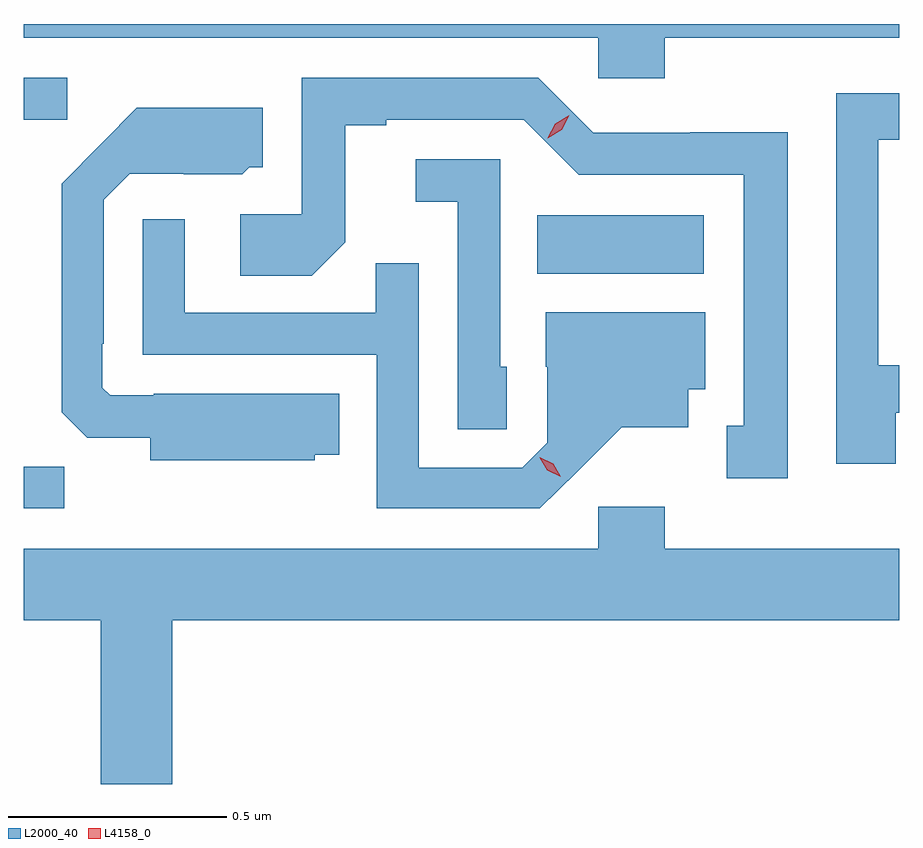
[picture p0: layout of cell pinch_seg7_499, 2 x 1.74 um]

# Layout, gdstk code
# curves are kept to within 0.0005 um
import gdstk
lib = gdstk.Library(unit=1e-6, precision=1e-09)
def R(c, l, rs):  # rectangles x0, y0, x1, y1
    for r in rs: c.add(gdstk.rectangle(r[:2], r[2:], *l))
def P(c, l, *ps):  # polygons
    for p in ps: c.add(gdstk.Polygon(p, *l))
L2000_40 = (2000, 40)
L4158_0 = (4158, 0)

pinch_seg7_499 = lib.new_cell('pinch_seg7_499')
R(pinch_seg7_499, L2000_40, [(176.821,1074.132,176.913,1074.227), (177.994,1074.668,178.375,1074.802), (176.821,1075.02,176.92,1075.116)])
P(pinch_seg7_499, L2000_40, [(178.286,1075.208),(178.821,1075.208),(178.821,1075.239),(176.821,1075.239),(176.821,1075.208),(178.134,1075.208),(178.134,1075.115),(178.286,1075.115)],
  [(178.567,1074.992),(178.344,1074.992),(178.344,1074.99),(178.122,1074.99),(177.996,1075.116),(177.456,1075.116),(177.456,1074.804),(177.315,1074.804),(177.315,1074.664),(177.479,1074.664),(177.555,1074.74),(177.555,1075.008),(177.649,1075.008),(177.649,1075.02),(177.963,1075.02),(178.089,1074.894),(178.466,1074.894),(178.466,1074.321),(178.427,1074.321),(178.427,1074.201),(178.567,1074.201)],
  [(178.813,1074.351),(178.821,1074.351),(178.821,1074.459),(178.773,1074.459),(178.773,1074.975),(178.821,1074.975),(178.821,1075.081),(178.677,1075.081),(178.677,1074.234),(178.813,1074.234)],
  [(177.486,1074.254),(177.542,1074.254),(177.542,1074.394),(177.118,1074.394),(177.118,1074.39),(177.018,1074.39),(177,1074.408),(177,1074.508),(177.003,1074.508),(177.003,1074.837),(177.063,1074.897),(177.186,1074.897),(177.186,1074.896),(177.32,1074.896),(177.336,1074.912),(177.367,1074.912),(177.367,1075.048),(177.079,1075.048),(176.907,1074.874),(176.907,1074.352),(176.966,1074.293),(177.11,1074.293),(177.11,1074.242),(177.486,1074.242)],
  [(177.924,1074.456),(177.909,1074.456),(177.909,1074.93),(177.717,1074.93),(177.717,1074.833),(177.813,1074.833),(177.813,1074.313),(177.924,1074.313)],
  [(178.084,1074.215),(178.187,1074.317),(178.339,1074.317),(178.339,1074.404),(178.378,1074.404),(178.378,1074.58),(178.013,1074.58),(178.013,1074.456),(178.017,1074.456),(178.017,1074.282),(177.96,1074.225),(177.723,1074.225),(177.723,1074.692),(177.625,1074.692),(177.625,1074.579),(177.189,1074.579),(177.189,1074.793),(177.093,1074.793),(177.093,1074.483),(177.627,1074.483),(177.627,1074.132),(178,1074.132)],
  [(177.16,1073.876),(178.821,1073.876),(178.821,1074.04),(178.286,1074.04),(178.286,1074.136),(178.134,1074.136),(178.134,1074.04),(176.821,1074.04),(176.821,1073.876),(176.996,1073.876),(176.996,1073.502),(177.16,1073.502)])
P(pinch_seg7_499, L4158_0, [(178.018,1074.978),(178.018,1074.979),(178.035,1075.011),(178.067,1075.03),(178.067,1075.03),(178.067,1075.03),(178.05,1074.997),(178.018,1074.978)],
  [(178.048,1074.204),(178.017,1074.219),(178,1074.248),(178,1074.249),(178,1074.249),(178.031,1074.234),(178.048,1074.204),(178.048,1074.204)])

lib.write_gds('pinch_seg7_499.gds')
